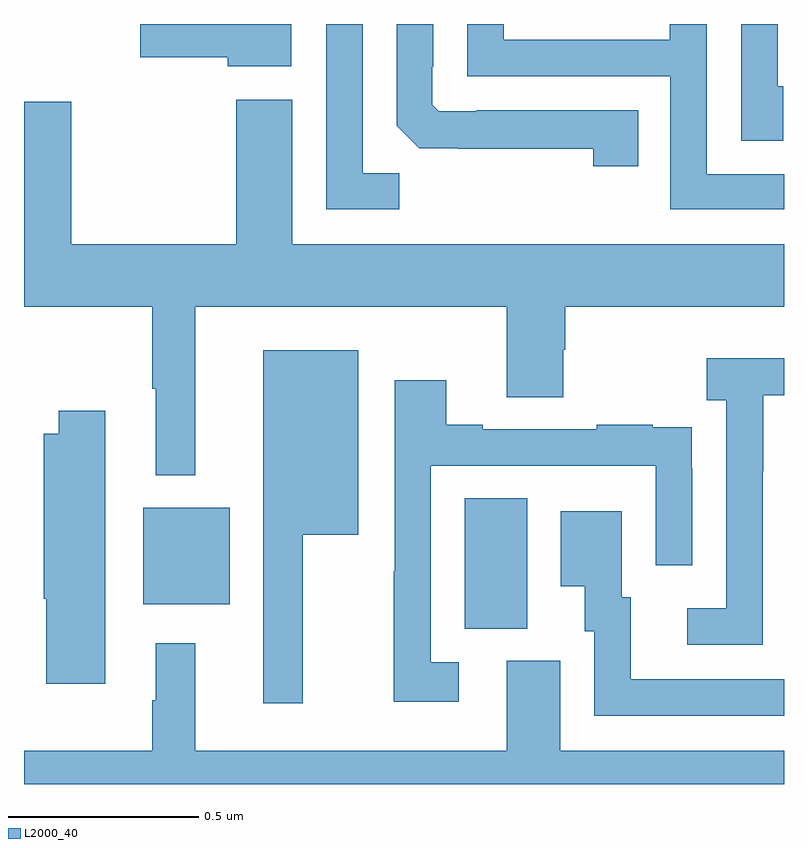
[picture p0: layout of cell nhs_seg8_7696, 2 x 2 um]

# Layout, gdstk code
import gdstk
lib = gdstk.Library(unit=1e-6, precision=1e-09)
def R(c, l, rs):  # rectangles x0, y0, x1, y1
    for r in rs: c.add(gdstk.rectangle(r[:2], r[2:], *l))
def P(c, l, *ps):  # polygons
    for p in ps: c.add(gdstk.Polygon(p, *l))
L2000_40 = (2000, 40)

nhs_seg8_7696 = lib.new_cell('nhs_seg8_7696')
R(nhs_seg8_7696, L2000_40, [(214.16,1126.309,214.324,1126.652), (213.314,1126.373,213.541,1126.627)])
P(nhs_seg8_7696, L2000_40, [(214.616,1127.673),(214.192,1127.673),(214.192,1127.67),(214.092,1127.67),(214.074,1127.688),(214.074,1127.788),(214.077,1127.788),(214.077,1127.9),(213.981,1127.9),(213.981,1127.632),(214.04,1127.573),(214.141,1127.573),(214.141,1127.572),(214.498,1127.572),(214.498,1127.526),(214.616,1127.526)],
  [(213.987,1127.507),(213.891,1127.507),(213.891,1127.9),(213.795,1127.9),(213.795,1127.412),(213.987,1127.412)],
  [(214.998,1127.736),(214.983,1127.736),(214.983,1127.9),(214.887,1127.9),(214.887,1127.593),(214.998,1127.593)],
  [(213.703,1127.9),(213.306,1127.9),(213.306,1127.813),(213.536,1127.813),(213.536,1127.789),(213.703,1127.789)],
  [(215,1127.505),(214.797,1127.505),(214.797,1127.9),(214.699,1127.9),(214.699,1127.859),(214.263,1127.859),(214.263,1127.9),(214.167,1127.9),(214.167,1127.763),(214.701,1127.763),(214.701,1127.412),(215,1127.412)],
  [(213.559,1127.701),(213.559,1127.32),(213.124,1127.32),(213.124,1127.695),(213,1127.695),(213,1127.156),(213.337,1127.156),(213.337,1126.94),(213.347,1126.94),(213.347,1126.712),(213.451,1126.712),(213.451,1127.156),(214.271,1127.156),(214.271,1126.918),(214.419,1126.918),(214.419,1127.043),(214.424,1127.043),(214.424,1127.156),(215,1127.156),(215,1127.32),(213.706,1127.32),(213.706,1127.701)],
  [(213.733,1126.556),(213.88,1126.556),(213.88,1127.041),(213.629,1127.041),(213.629,1126.113),(213.733,1126.113)],
  [(214.944,1126.723),(214.945,1126.723),(214.945,1126.923),(215,1126.923),(215,1127.02),(214.797,1127.02),(214.797,1126.91),(214.848,1126.91),(214.848,1126.362),(214.746,1126.362),(214.746,1126.266),(214.944,1126.266)],
  [(214.144,1126.221),(214.071,1126.221),(214.071,1126.737),(214.662,1126.737),(214.662,1126.476),(214.758,1126.476),(214.758,1126.73),(214.757,1126.73),(214.757,1126.839),(214.655,1126.839),(214.655,1126.846),(214.507,1126.846),(214.507,1126.833),(214.207,1126.833),(214.207,1126.846),(214.111,1126.846),(214.111,1126.963),(213.975,1126.963),(213.975,1126.46),(213.973,1126.46),(213.973,1126.116),(214.144,1126.116)],
  [(213.214,1126.882),(213.092,1126.882),(213.092,1126.822),(213.052,1126.822),(213.052,1126.387),(213.059,1126.387),(213.059,1126.164),(213.214,1126.164)],
  [(215,1126.176),(214.597,1126.176),(214.597,1126.392),(214.573,1126.392),(214.573,1126.618),(214.412,1126.618),(214.412,1126.421),(214.475,1126.421),(214.475,1126.302),(214.5,1126.302),(214.5,1126.08),(215,1126.08)],
  [(215,1125.988),(214.411,1125.988),(214.411,1126.224),(214.271,1126.224),(214.271,1125.988),(213.451,1125.988),(213.451,1126.27),(213.347,1126.27),(213.347,1126.121),(213.337,1126.121),(213.337,1125.988),(213,1125.988),(213,1125.9),(215,1125.9)])

lib.write_gds('nhs_seg8_7696.gds')
